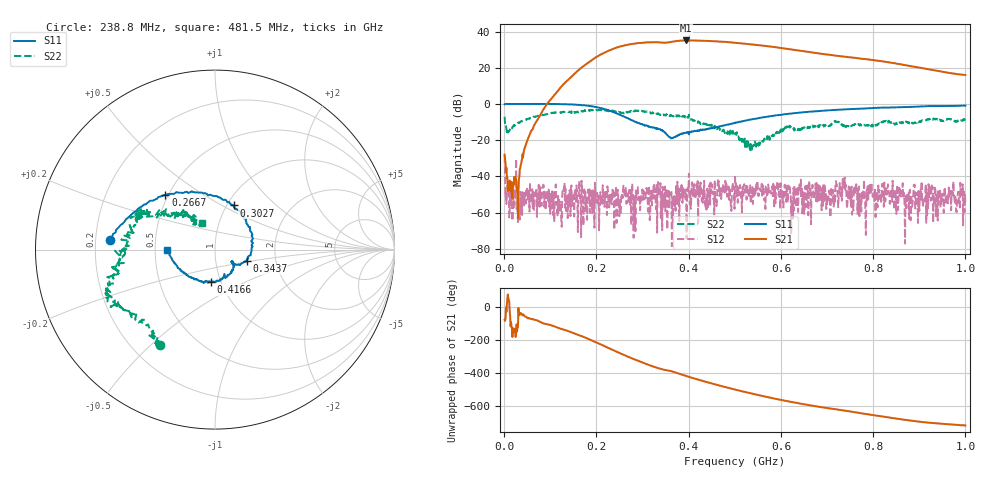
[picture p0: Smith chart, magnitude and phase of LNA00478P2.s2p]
! Created with skrf 1.9.0 (http://scikit-rf.org).
# Hz S RI R 50.0
!freq ReS11 ImS11 ReS21 ImS21 ReS12 ImS12 ReS22 ImS22
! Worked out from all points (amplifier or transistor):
!   1001 points, 1 MHz to 1 GHz, reference 50 ohm
!   highest |S21| = 35.1 dB at 394.6 MHz (marker M1)
!   |S21| within 3 dB of that: 256.6 MHz to 565.6 MHz (309 MHz wide, 75.2 % of centre)
!   unconditionally stable (mu >= 1): 214.3 MHz to 277.7 MHz; 333.7 MHz to 400.3 MHz; 400.8 MHz to end of sweep (the widest 3 of 46)
!   at 166.8 MHz: K = 19.73, MAG = 31.0 dB, |S12| = -74.0 dB
!   at 500.5 MHz: K = 1.02, MAG = 35.5 dB, |S12| = -38.9 dB
!   at 1 GHz: K = 7.10, MAG = 23.8 dB, |S12| = -54.7 dB
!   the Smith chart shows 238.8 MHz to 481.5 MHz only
!   S11 on the Smith chart (normalised r, x): 238.8 MHz: 0.26, +0.04; 266.7 MHz: 0.48, +0.35; 302.7 MHz: 1.07, +0.57; 343.7 MHz: 1.41, -0.19; 416.6 MHz: 0.90, -0.33; 481.5 MHz: 0.58, -0.00
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1000000  0.9772 0.0116  0.00905 -0.0388  -0.0328 0.015  0.322 0.3057
1.09891e8  0.5258 -0.8466  -0.8579 -1.605  -0.000416 0.00334  0.4513 -0.38
1.67833e8  -0.2059 -0.905  -10.11 -0.7024  0.00316 -0.00691  0.0372 -0.6405
2.08792e8  -0.6436 -0.4311  -16.13 16.48  -0.00355 -0.00094  -0.2097 -0.652
2.38762e8  -0.5833 0.0544  -3.316 34.12  -0.000155 0.000299  -0.3043 -0.5293
2.66734e8  -0.276 0.3026  20.92 37.49  -0.00171 -0.00142  -0.4759 -0.3494
2.84716e8  -0.0626 0.3132  35.6 30.47  0.000164 -0.000261  -0.5976 -0.2743
3.02698e8  0.1031 0.2461  45.9 17.45  -0.0013 0.00187  -0.5973 -0.1878
3.34666e8  0.2036 0.00366  49.42 -9.774  -0.00285 -0.00091  -0.5351 -0.0304
3.43657e8  0.1758 -0.0645  46.96 -15.58  -0.00171 0.00486  -0.5004 -0.0205
3.71629e8  0.1014 -0.0717  43.34 -32.69  -0.000867 -0.000716  -0.41 0.1808
3.94606e8  0.0707 -0.1461  29.89 -48.16  0.00207 0.00297  -0.38 0.222
4.16584e8  -0.0215 -0.179  12.69 -55.03  0.00196 0.00357  -0.2645 0.1882
4.45555e8  -0.1561 -0.144  -9.161 -53.84  0.00317 0.00503  -0.1775 0.1818
4.81519e8  -0.2657 -0.00198  -30.77 -41.15  0.00569 0.00263  -0.0708 0.1455
5.005e8  -0.2903 0.094  -37.89 -31.56  0.00308 0.0109  -0.0723 0.1479
5.4046e8  -0.2327 0.3059  -42.4 -9.898  0.00345 -0.000128  -0.0718 0.00737
5.88412e8  -0.0535 0.4763  -35.33 10.52  -0.000122 0.00183  -0.1345 -0.0548
6.67333e8  0.3137 0.5303  -13.94 22.32  -0.00272 0.00194  -0.2429 0.00851
7.55245e8  0.6196 0.3778  1.812 18.92  -0.00197 -0.000835  -0.2435 0.0952
8.34166e8  0.7797 0.1613  8.989 10.85  -0.00342 0.000457  -0.3147 0.0843
1e9  0.8261 -0.3616  6.328 0.2149  -0.0016 -0.000935  -0.1727 0.3138
